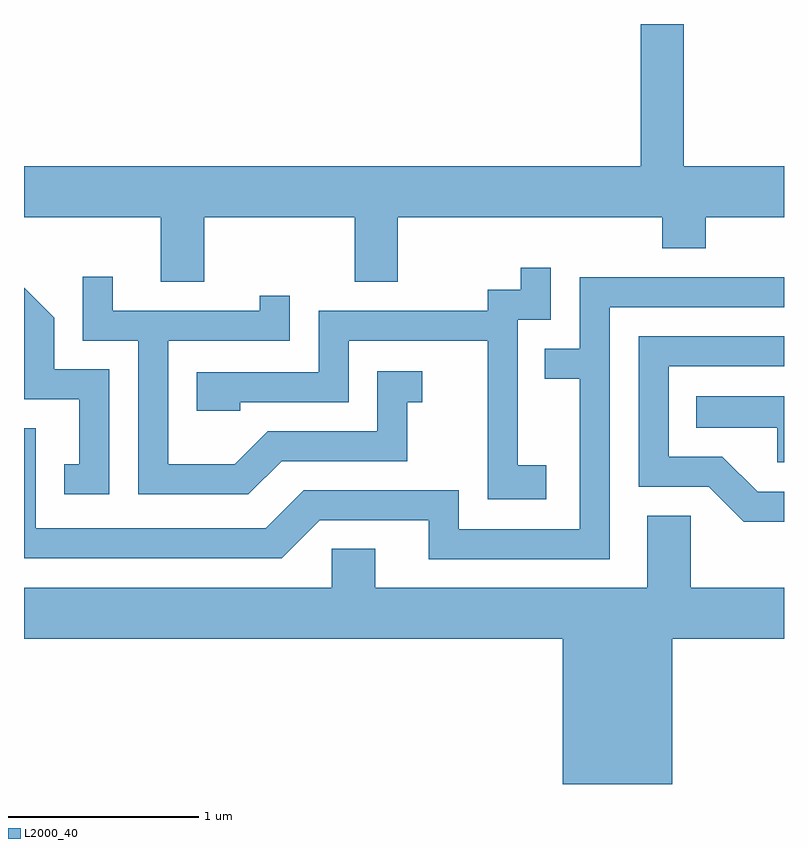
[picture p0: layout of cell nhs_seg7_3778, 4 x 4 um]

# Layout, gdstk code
import gdstk
lib = gdstk.Library(unit=1e-6, precision=1e-09)
def P(c, l, *ps):  # polygons
    for p in ps: c.add(gdstk.Polygon(p, *l))
L2000_40 = (2000, 40)

nhs_seg7_3778 = lib.new_cell('nhs_seg7_3778')
P(nhs_seg7_3778, L2000_40, [(302.559,1683.236),(303.351,1683.236),(303.351,1682.896),(303.579,1682.896),(303.579,1683.236),(304.971,1683.236),(304.971,1683.071),(305.199,1683.071),(305.199,1683.236),(305.611,1683.236),(305.611,1683.504),(305.084,1683.504),(305.084,1684.252),(304.856,1684.252),(304.856,1683.504),(301.611,1683.504),(301.611,1683.236),(302.331,1683.236),(302.331,1682.896),(302.559,1682.896)],
  [(304.359,1681.929),(304.209,1681.929),(304.209,1682.696),(304.384,1682.696),(304.384,1682.968),(304.226,1682.968),(304.226,1682.854),(304.051,1682.854),(304.051,1682.744),(303.161,1682.744),(303.161,1682.419),(302.521,1682.419),(302.521,1682.216),(302.749,1682.216),(302.749,1682.261),(303.319,1682.261),(303.319,1682.586),(304.051,1682.586),(304.051,1681.751),(304.359,1681.751)],
  [(302.967,1681.951),(303.629,1681.951),(303.629,1682.261),(303.708,1682.261),(303.708,1682.424),(303.471,1682.424),(303.471,1682.109),(302.894,1682.109),(302.719,1681.934),(302.369,1681.934),(302.369,1682.586),(303.009,1682.586),(303.009,1682.823),(302.851,1682.823),(302.851,1682.744),(302.079,1682.744),(302.079,1682.923),(301.921,1682.923),(301.921,1682.586),(302.211,1682.586),(302.211,1681.776),(302.792,1681.776)],
  [(304.694,1682.761),(305.611,1682.761),(305.611,1682.919),(304.536,1682.919),(304.536,1682.544),(304.353,1682.544),(304.353,1682.386),(304.536,1682.386),(304.536,1681.594),(303.899,1681.594),(303.899,1681.799),(303.084,1681.799),(302.884,1681.599),(301.674,1681.599),(301.674,1682.124),(301.611,1682.124),(301.611,1681.441),(302.967,1681.441),(303.167,1681.641),(303.741,1681.641),(303.741,1681.436),(304.694,1681.436)],
  [(302.059,1682.434),(301.769,1682.434),(301.769,1682.707),(301.611,1682.865),(301.611,1682.276),(301.901,1682.276),(301.901,1681.934),(301.823,1681.934),(301.823,1681.776),(302.059,1681.776)],
  [(305.611,1681.789),(305.472,1681.789),(305.287,1681.974),(305.004,1681.974),(305.004,1682.451),(305.611,1682.451),(305.611,1682.609),(304.846,1682.609),(304.846,1681.816),(305.214,1681.816),(305.399,1681.631),(305.611,1681.631)],
  [(305.611,1682.294),(305.148,1682.294),(305.148,1682.126),(305.576,1682.126),(305.576,1681.946),(305.611,1681.946)],
  [(305.024,1681.016),(305.611,1681.016),(305.611,1681.284),(305.119,1681.284),(305.119,1681.664),(304.891,1681.664),(304.891,1681.284),(303.459,1681.284),(303.459,1681.489),(303.231,1681.489),(303.231,1681.284),(301.611,1681.284),(301.611,1681.016),(304.446,1681.016),(304.446,1680.252),(305.024,1680.252)])

lib.write_gds('nhs_seg7_3778.gds')
